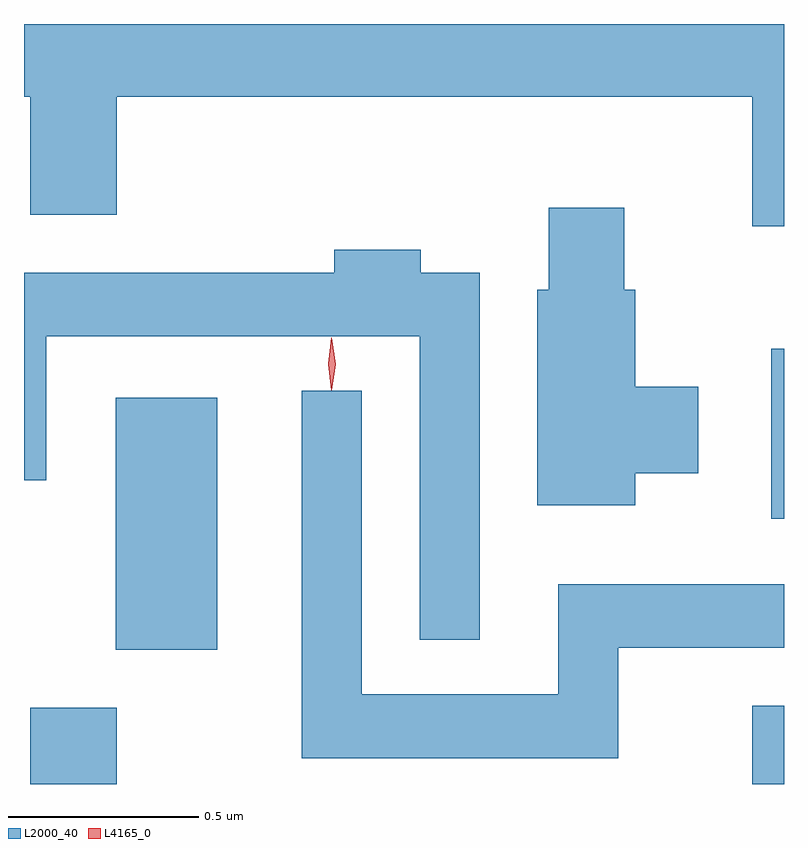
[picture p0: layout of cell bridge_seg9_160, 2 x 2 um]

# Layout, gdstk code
import gdstk
lib = gdstk.Library(unit=1e-6, precision=1e-09)
def R(c, l, rs):  # rectangles x0, y0, x1, y1
    for r in rs: c.add(gdstk.rectangle(r[:2], r[2:], *l))
def P(c, l, *ps):  # polygons
    for p in ps: c.add(gdstk.Polygon(p, *l))
L2000_40 = (2000, 40)
L4165_0 = (4165, 0)

bridge_seg9_160 = lib.new_cell('bridge_seg9_160')
R(bridge_seg9_160, L2000_40, [(1440.481,2069.928,1440.709,2070.129), (1442.381,2069.928,1442.465,2070.134), (1440.706,2070.281,1440.974,2070.944), (1442.431,2070.626,1442.465,2071.074)])
P(bridge_seg9_160, L2000_40, [(1442.465,2071.928),(1440.465,2071.928),(1440.465,2071.736),(1440.481,2071.736),(1440.481,2071.426),(1440.709,2071.426),(1440.709,2071.736),(1442.381,2071.736),(1442.381,2071.396),(1442.465,2071.396)],
  [(1442.074,2070.746),(1442.239,2070.746),(1442.239,2070.974),(1442.074,2070.974),(1442.074,2071.229),(1442.044,2071.229),(1442.044,2071.444),(1441.846,2071.444),(1441.846,2071.229),(1441.816,2071.229),(1441.816,2070.661),(1442.074,2070.661)],
  [(1441.664,2071.274),(1441.509,2071.274),(1441.509,2071.334),(1441.281,2071.334),(1441.281,2071.274),(1440.465,2071.274),(1440.465,2070.728),(1440.524,2070.728),(1440.524,2071.106),(1441.506,2071.106),(1441.506,2070.308),(1441.664,2070.308)],
  [(1442.029,2070.286),(1442.465,2070.286),(1442.465,2070.454),(1441.871,2070.454),(1441.871,2070.164),(1441.354,2070.164),(1441.354,2070.963),(1441.196,2070.963),(1441.196,2069.996),(1442.029,2069.996)])
P(bridge_seg9_160, L4165_0, [(1441.274,2070.964),(1441.265,2071.033),(1441.274,2071.102),(1441.275,2071.103),(1441.275,2071.102),(1441.285,2071.033),(1441.275,2070.964),(1441.275,2070.964)],
  [(1441.275,2070.967),(1441.274,2070.968),(1441.265,2071.034),(1441.274,2071.1),(1441.274,2071.1),(1441.275,2071.1),(1441.284,2071.034),(1441.275,2070.968)])

lib.write_gds('bridge_seg9_160.gds')
